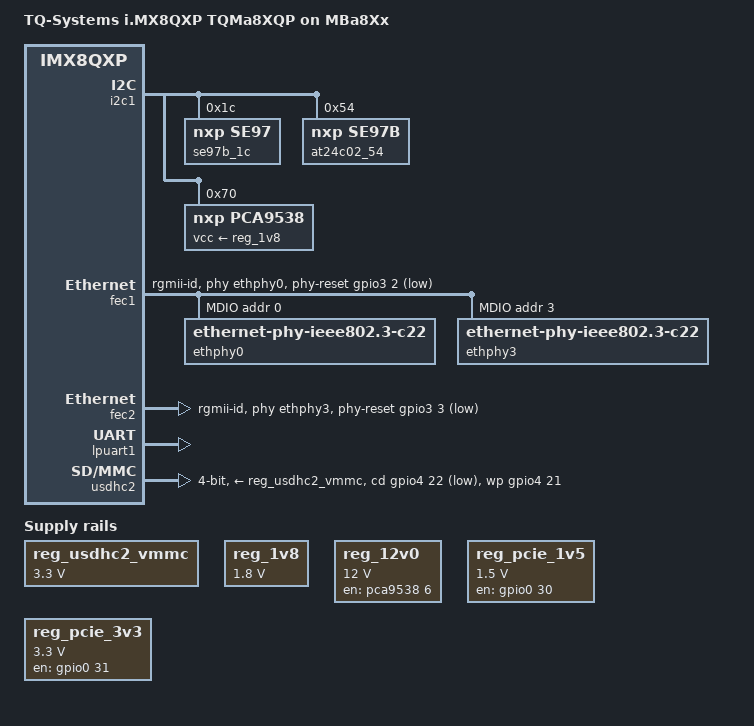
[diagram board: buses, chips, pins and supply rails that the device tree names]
// SPDX-License-Identifier: GPL-2.0-or-later OR MIT
/*
 * Copyright 2018 - 2020 TQ-Systems GmbH
 */

/dts-v1/;

#include "imx8qxp-tqma8xqp.dtsi"
#include <dt-bindings/net/ti-dp83867.h>

/ {
	model = "TQ-Systems i.MX8QXP TQMa8XQP on MBa8Xx";
	compatible = "tq,imx8qxp-mba8xx", "tq,imx8qxp-tqma8xqp", "fsl,imx8qxp";

	aliases {
		gpio8 = &pca9538;
	};

	chosen {
		bootargs = "console=ttyLP1,115200 earlycon";
		stdout-path = &lpuart1;
	};

	reg_usdhc2_vmmc: regulator-usdhc2-vmmc {
		compatible = "regulator-fixed";
		regulator-name = "SD1_PWR";
		regulator-min-microvolt = <3300000>;
		regulator-max-microvolt = <3300000>;
	};

	reg_1v8: regulator-1v8 {
		compatible = "regulator-fixed";
		regulator-name = "V_1V8";
		regulator-min-microvolt = <1800000>;
		regulator-max-microvolt = <1800000>;
	};

	reg_12v0: regulator-12v0 {
		compatible = "regulator-fixed";
		regulator-name = "V_12V";
		regulator-min-microvolt = <12000000>;
		regulator-max-microvolt = <12000000>;
		gpio = <&pca9538 6 GPIO_ACTIVE_HIGH>;
		enable-active-high;
	};

	reg_pcie_1v5: regulator-pcie-1v5 {
		compatible = "regulator-fixed";
		regulator-name = "PCIE_1V5";
		pinctrl-names = "default";
		pinctrl-0 = <&pinctrl_reg_pcie_1v5>;
		regulator-min-microvolt = <1500000>;
		regulator-max-microvolt = <1500000>;
		gpio = <&gpio0 30 GPIO_ACTIVE_HIGH>;
		startup-delay-us = <1000>;
		enable-active-high;
		status = "okay";
	};

	reg_pcie_3v3: regulator-pcie-3v3 {
		compatible = "regulator-fixed";
		regulator-name = "PCIE_3V3";
		pinctrl-names = "default";
		pinctrl-0 = <&pinctrl_reg_pcie_3v3>;
		regulator-min-microvolt = <3300000>;
		regulator-max-microvolt = <3300000>;
		gpio = <&gpio0 31 GPIO_ACTIVE_HIGH>;
		startup-delay-us = <1000>;
		enable-active-high;
		status = "okay";
	};
};

&i2c1 {
	/* NXP SE97BTP with temperature sensor + eeprom */
	se97b_1c: temperature-sensor-eeprom@1c {
		compatible = "nxp,se97", "jedec,jc-42.4-temp";
		reg = <0x1c>;
		status = "okay";
	};

	at24c02_54: eeprom@54 {
		compatible = "nxp,se97b", "atmel,24c02";
		reg = <0x54>;
		pagesize = <16>;
		status = "okay";
	};

	pca9538: expander@70 {
		compatible = "nxp,pca9538";
		reg = <0x70>;
		pinctrl-names = "default";
		pinctrl-0 = <&pinctrl_pca9538>;
		vcc-supply = <&reg_1v8>;
	};
};

&fec1 {
	pinctrl-names = "default";
	pinctrl-0 = <&pinctrl_fec1>;
	phy-mode = "rgmii-id";
	phy-handle = <&ethphy0>;
	phy-reset-gpios = <&gpio3 2 GPIO_ACTIVE_LOW>;
	phy-reset-duration = <500>;
	phy-reset-post-delay = <50>;
	fsl,magic-packet;
	status = "okay";

	mdio {
		#address-cells = <1>;
		#size-cells = <0>;

		ethphy0: ethernet-phy@0 {
			compatible = "ethernet-phy-ieee802.3-c22";
			reg = <0>;
			ti,rx-internal-delay = <DP83867_RGMIIDCTL_2_25_NS>;
			ti,tx-internal-delay = <DP83867_RGMIIDCTL_2_25_NS>;
			ti,fifo-depth = <DP83867_PHYCR_FIFO_DEPTH_4_B_NIB>;
			ti,dp83867-rxctrl-strap-quirk;
			ti,clk-output-sel = <DP83867_CLK_O_SEL_OFF>;
			enet-phy-lane-no-swap;
			/* LED0: Link, LED2: activity */
			ti,led-function = <0x0100>;
			/* LED0/2: active High, driven by phy function */
			ti,led-ctrl = <0x1414>;
		};

		ethphy3: ethernet-phy@3 {
			compatible = "ethernet-phy-ieee802.3-c22";
			reg = <3>;
			ti,rx-internal-delay = <DP83867_RGMIIDCTL_2_25_NS>;
			ti,tx-internal-delay = <DP83867_RGMIIDCTL_2_25_NS>;
			ti,fifo-depth = <DP83867_PHYCR_FIFO_DEPTH_4_B_NIB>;
			ti,dp83867-rxctrl-strap-quirk;
			ti,clk-output-sel = <DP83867_CLK_O_SEL_OFF>;
			enet-phy-lane-no-swap;
			/* LED0: Link, LED2: activity */
			ti,led-function = <0x0100>;
			/* LED0/2: active High, driven by phy function */
			ti,led-ctrl = <0x1414>;
		};
	};
};

&fec2 {
	pinctrl-names = "default";
	pinctrl-0 = <&pinctrl_fec2>;
	phy-mode = "rgmii-id";
	phy-handle = <&ethphy3>;
	fsl,magic-packet;
	phy-reset-gpios = <&gpio3 3 GPIO_ACTIVE_LOW>;
	phy-reset-duration = <500>;
	phy-reset-post-delay = <50>;

	status = "okay";
};

&iomuxc {
	pinctrl_fec1: fec1grp {
		fsl,pins = <
			SC_P_COMP_CTL_GPIO_1V8_3V3_ENET_ENETB0_PAD	0x000014a0

			SC_P_ENET0_MDC_CONN_ENET0_MDC			0x06000041
			SC_P_ENET0_MDIO_CONN_ENET0_MDIO			0x06000041
			SC_P_ENET0_RGMII_TX_CTL_CONN_ENET0_RGMII_TX_CTL	0x00000040
			SC_P_ENET0_RGMII_TXC_CONN_ENET0_RGMII_TXC	0x00000040
			SC_P_ENET0_RGMII_TXD0_CONN_ENET0_RGMII_TXD0	0x00000040
			SC_P_ENET0_RGMII_TXD1_CONN_ENET0_RGMII_TXD1	0x00000040
			SC_P_ENET0_RGMII_TXD2_CONN_ENET0_RGMII_TXD2	0x00000040
			SC_P_ENET0_RGMII_TXD3_CONN_ENET0_RGMII_TXD3	0x00000040
			SC_P_ENET0_RGMII_RXC_CONN_ENET0_RGMII_RXC	0x00000040
			SC_P_ENET0_RGMII_RX_CTL_CONN_ENET0_RGMII_RX_CTL	0x00000040
			SC_P_ENET0_RGMII_RXD0_CONN_ENET0_RGMII_RXD0	0x00000040
			SC_P_ENET0_RGMII_RXD1_CONN_ENET0_RGMII_RXD1	0x00000040
			SC_P_ENET0_RGMII_RXD2_CONN_ENET0_RGMII_RXD2	0x00000040
			SC_P_ENET0_RGMII_RXD3_CONN_ENET0_RGMII_RXD3	0x00000040
			/* PHY Reset */
			SC_P_CSI_EN_LSIO_GPIO3_IO02			0x00000040
			/* PHY IRQ / PWDN */
			SC_P_CSI_PCLK_LSIO_GPIO3_IO00			0x00000040
		>;
	};

	pinctrl_fec2: fec2grp {
		fsl,pins = <
			SC_P_COMP_CTL_GPIO_1V8_3V3_ENET_ENETB1_PAD	0x000014a0

			SC_P_ESAI0_SCKR_CONN_ENET1_RGMII_TX_CTL		0x00000040
			SC_P_ESAI0_FSR_CONN_ENET1_RGMII_TXC		0x00000040
			SC_P_ESAI0_TX4_RX1_CONN_ENET1_RGMII_TXD0	0x00000040
			SC_P_ESAI0_TX5_RX0_CONN_ENET1_RGMII_TXD1	0x00000040
			SC_P_ESAI0_FST_CONN_ENET1_RGMII_TXD2		0x00000040
			SC_P_ESAI0_SCKT_CONN_ENET1_RGMII_TXD3		0x00000040
			SC_P_ESAI0_TX0_CONN_ENET1_RGMII_RXC		0x00000040
			SC_P_SPDIF0_TX_CONN_ENET1_RGMII_RX_CTL		0x00000040
			SC_P_SPDIF0_RX_CONN_ENET1_RGMII_RXD0		0x00000040
			SC_P_ESAI0_TX3_RX2_CONN_ENET1_RGMII_RXD1	0x00000040
			SC_P_ESAI0_TX2_RX3_CONN_ENET1_RGMII_RXD2	0x00000040
			SC_P_ESAI0_TX1_CONN_ENET1_RGMII_RXD3		0x00000040
			/* PHY Reset */
			SC_P_CSI_RESET_LSIO_GPIO3_IO03			0x00000040
			/* PHY IRQ / PWDN */
			SC_P_CSI_MCLK_LSIO_GPIO3_IO01			0x00000040
		>;
	};

	pinctrl_lpuart1: lpuart1grp {
		fsl,pins = <
			SC_P_UART1_RX_ADMA_UART1_RX		0x06000021
			SC_P_UART1_TX_ADMA_UART1_TX		0x06000021
		>;
	};

	pinctrl_pca9538: pca9538grp {
		fsl,pins = <
			/* Muxing as GPIO (no pull) for PE1_INT# (not used) to avoid mistakes */
			SC_P_USDHC1_RESET_B_LSIO_GPIO4_IO19	0x00000061
		>;
	};

	pinctrl_reg_pcie_1v5: regpcie1v5grp {
		fsl,pins = <
			SC_P_SAI1_RXC_LSIO_GPIO0_IO30		0x00000021
		>;
	};

	pinctrl_reg_pcie_3v3: regpcie3v3grp {
		fsl,pins = <
			SC_P_SAI1_RXFS_LSIO_GPIO0_IO31		0x00000021
		>;
	};

	pinctrl_usdhc2_gpio: usdhc2gpiogrp {
		fsl,pins = <
			SC_P_USDHC1_RESET_B_LSIO_GPIO4_IO19	0x00000021
			SC_P_USDHC1_WP_LSIO_GPIO4_IO21		0x00000021
			SC_P_USDHC1_CD_B_LSIO_GPIO4_IO22	0x00000021
		>;
	};

	pinctrl_usdhc2: usdhc2grp {
		fsl,pins = <
			SC_P_USDHC1_CLK_CONN_USDHC1_CLK		0x06000041
			SC_P_USDHC1_CMD_CONN_USDHC1_CMD		0x00000021
			SC_P_USDHC1_DATA0_CONN_USDHC1_DATA0	0x00000021
			SC_P_USDHC1_DATA1_CONN_USDHC1_DATA1	0x00000021
			SC_P_USDHC1_DATA2_CONN_USDHC1_DATA2	0x00000021
			SC_P_USDHC1_DATA3_CONN_USDHC1_DATA3	0x00000021
			SC_P_USDHC1_VSELECT_CONN_USDHC1_VSELECT	0x00000021
		>;
	};

	pinctrl_usdhc2_100mhz: usdhc2grp100mhz {
		fsl,pins = <
			SC_P_USDHC1_CLK_CONN_USDHC1_CLK		0x06000040
			SC_P_USDHC1_CMD_CONN_USDHC1_CMD		0x00000020
			SC_P_USDHC1_DATA0_CONN_USDHC1_DATA0	0x00000020
			SC_P_USDHC1_DATA1_CONN_USDHC1_DATA1	0x00000020
			SC_P_USDHC1_DATA2_CONN_USDHC1_DATA2	0x00000020
			SC_P_USDHC1_DATA3_CONN_USDHC1_DATA3	0x00000020
			SC_P_USDHC1_VSELECT_CONN_USDHC1_VSELECT	0x00000020
		>;
	};

	pinctrl_usdhc2_200mhz: usdhc2grp200mhz {
		fsl,pins = <
			SC_P_USDHC1_CLK_CONN_USDHC1_CLK		0x06000040
			SC_P_USDHC1_CMD_CONN_USDHC1_CMD		0x00000020
			SC_P_USDHC1_DATA0_CONN_USDHC1_DATA0	0x00000020
			SC_P_USDHC1_DATA1_CONN_USDHC1_DATA1	0x00000020
			SC_P_USDHC1_DATA2_CONN_USDHC1_DATA2	0x00000020
			SC_P_USDHC1_DATA3_CONN_USDHC1_DATA3	0x00000020
			SC_P_USDHC1_VSELECT_CONN_USDHC1_VSELECT	0x00000020
		>;
	};
};

&lpuart1 {
	pinctrl-names = "default";
	pinctrl-0 = <&pinctrl_lpuart1>;
	status = "okay";
};

&usdhc2 {
	pinctrl-names = "default", "state_100mhz", "state_200mhz";
	pinctrl-0 = <&pinctrl_usdhc2>, <&pinctrl_usdhc2_gpio>;
	pinctrl-1 = <&pinctrl_usdhc2_100mhz>, <&pinctrl_usdhc2_gpio>;
	pinctrl-2 = <&pinctrl_usdhc2_200mhz>, <&pinctrl_usdhc2_gpio>;
	bus-width = <4>;
	cd-gpios = <&gpio4 22 GPIO_ACTIVE_LOW>;
	wp-gpios = <&gpio4 21 GPIO_ACTIVE_HIGH>;
	vmmc-supply = <&reg_usdhc2_vmmc>;
	no-sdio;
	no-mmc;
	status = "okay";
};
